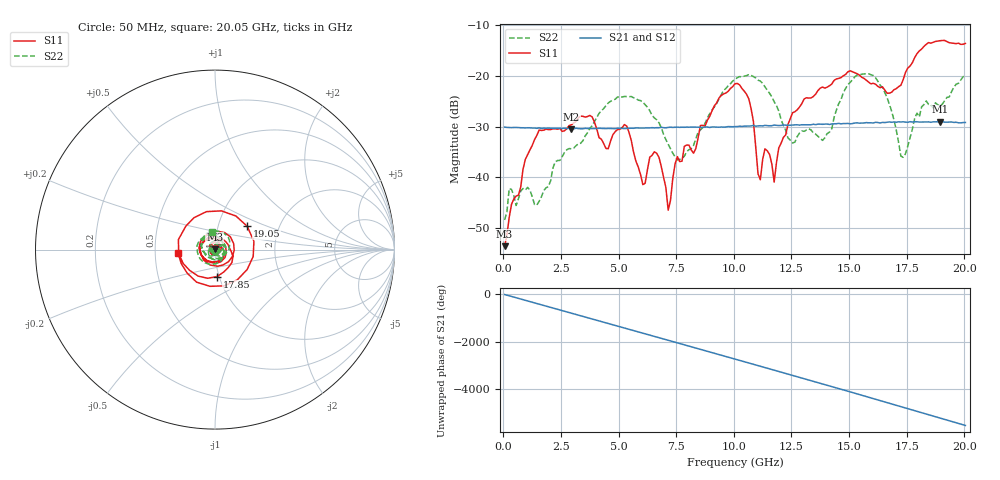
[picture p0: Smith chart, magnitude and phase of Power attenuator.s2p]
!Created with skrf (http://scikit-rf.org).
# GHz S RI R 50.0
!freq	ReS11	ImS11	ReS21	ImS21	ReS12	ImS12	ReS22	ImS22
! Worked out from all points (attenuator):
!   201 points, 50 MHz to 20.05 GHz, reference 50 ohm
!   highest |S21| = -29.04 dB at 18.95 GHz (marker M1); lowest = -30.5 dB at 2.95 GHz (marker M2)
!   lowest |S11| = -53.5 dB at 50 MHz (marker M3), VSWR 1.00, Z = 49.9 + j0.158 ohm
!   |S11| at or under -10 dB: start of sweep to end of sweep
!   |S22| runs from -48.4 to -19.6 dB; largest |S21 - S12| = 0.0013
!   S11 on the Smith chart (normalised r, x): 50 MHz: 1.00, +0.00; 17.85 GHz: 0.98, -0.30; 19.05 GHz: 1.38, +0.38; 20.05 GHz: 0.66, -0.03
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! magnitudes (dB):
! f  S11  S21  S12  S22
! 50 MHz  -53.5  -30.1  -30.1  -48.4
! 1.55 GHz  -30.7  -30.3  -30.4  -44.7
! 2.95 GHz  -29.7  -30.5  -30.4  -34.4
! 3.45 GHz  -28.0  -30.4  -30.4  -32.8
! 5.35 GHz  -29.9  -30.4  -30.3  -24.1
! 6.05 GHz  -41.4  -30.3  -30.3  -25.2
! 6.75 GHz  -36.1  -30.2  -30.2  -29.3
! 7.15 GHz  -46.5  -30.2  -30.2  -33.5
! 7.55 GHz  -35.9  -30.1  -30.1  -36.6
! 10.05 GHz  -21.6  -30.0  -30.1  -20.8
! 10.65 GHz  -24.6  -29.9  -29.9  -19.8
! 11.15 GHz  -40.5  -29.8  -30.0  -21.1
! 11.75 GHz  -40.9  -29.7  -29.8  -25.1
! 12.55 GHz  -27.3  -29.7  -29.8  -33.2
! 13.45 GHz  -24.1  -29.5  -29.7  -31.3
! 15.35 GHz  -19.6  -29.3  -29.4  -19.9
! 16.75 GHz  -23.4  -29.1  -29.2  -25.6
! 17.25 GHz  -21.9  -29.1  -29.1  -35.8
! 17.85 GHz  -16.4  -29.0  -29.2  -28.4
! 18.95 GHz  -13.1  -29.0  -29.1  -25.9
! 19.05 GHz  -13.1  -29.0  -29.1  -25.6
! 20.05 GHz  -13.7  -29.2  -29.3  -19.9
